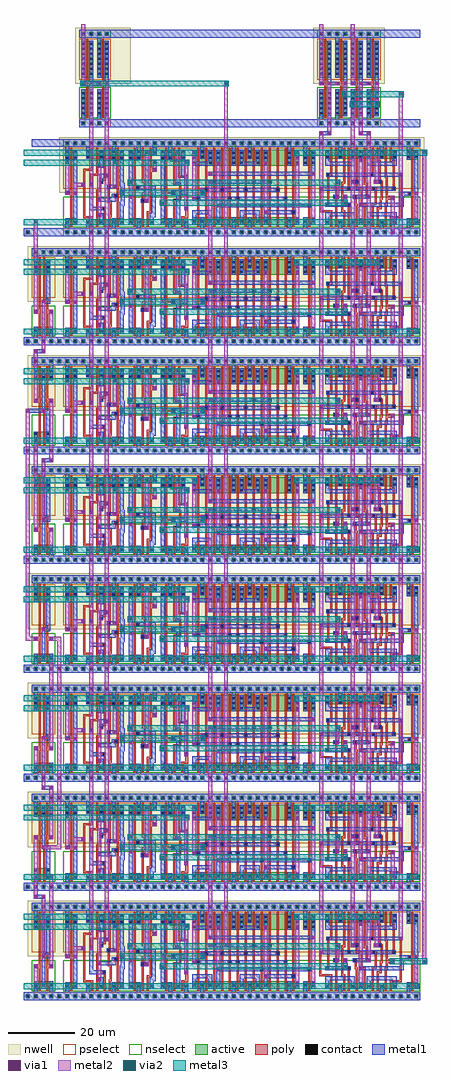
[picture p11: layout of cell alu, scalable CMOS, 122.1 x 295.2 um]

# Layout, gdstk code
import gdstk
lib = gdstk.Library(unit=1e-6, precision=1e-09)
def R(c, l, rs):  # rectangles x0, y0, x1, y1
    for r in rs: c.add(gdstk.rectangle(r[:2], r[2:], *l))
def A(c, l, x, y, w, h, nx, ny, dx, dy):  # array of equal rectangles
    R(c, l, [(x+i*dx, y+j*dy, x+i*dx+w, y+j*dy+h) for i in range(nx) for j in range(ny)])
def P(c, l, *ps):  # polygons
    for p in ps: c.add(gdstk.Polygon(p, *l))
contact = (25, 0)
nwell = (42, 0)
active = (43, 0)
pselect = (44, 0)
nselect = (45, 0)
poly = (46, 0)
metal1 = (49, 0)
via1 = (50, 0)
metal2 = (51, 0)
via2 = (61, 0)
metal3 = (62, 0)

invbuf_4x = lib.new_cell('invbuf_4x')
A(invbuf_4x, contact, 0.9, -0.3, 0.6, 0.6, 4, 2, 2.4, 3)
A(invbuf_4x, contact, 0.9, 4.2, 0.6, 0.6, 4, 4, 2.4, 1.5)
A(invbuf_4x, contact, 0.9, 14.7, 0.6, 0.6, 4, 7, 2.4, 1.5)
A(invbuf_4x, contact, 0.9, 26.7, 0.6, 0.6, 4, 1, 2.4, 0)
R(invbuf_4x, contact, [(0.9,11.7,1.5,12.3), (5.7,11.7,6.3,12.3)])
R(invbuf_4x, nwell, [(-1.2,12,6,28.8), (3.6,12,10.8,28.8)])
A(invbuf_4x, active, 0.6, -0.6, 1.2, 1.2, 4, 2, 2.4, 27)
R(invbuf_4x, active, [(0.6,2.1,4.2,10.2), (5.4,2.1,9,10.2), (0.6,13.8,4.2,24.9), (5.4,13.8,9,24.9)])
R(invbuf_4x, pselect, [(0,-1.2,4.8,1.2), (4.8,-1.2,9.6,1.2), (0,13.2,4.8,25.5), (4.8,13.2,9.6,25.5)])
R(invbuf_4x, nselect, [(0,1.5,4.8,10.8), (4.8,1.5,9.6,10.8), (0,25.8,4.8,28.2), (4.8,25.8,9.6,28.2)])
P(invbuf_4x, poly, [(7.5,25.5),(6.9,25.5),(6.9,12.6),(5.4,12.6),(5.4,11.4),(6.9,11.4),(6.9,1.5),(7.5,1.5)],
  [(2.7,25.5),(2.1,25.5),(2.1,12.6),(0.6,12.6),(0.6,11.4),(2.1,11.4),(2.1,1.5),(2.7,1.5)])
R(invbuf_4x, metal1, [(0,-1.2,9.6,1.2), (0,-1.2,4.8,1.2), (4.8,-1.2,9.6,1.2), (3,2.1,4.2,24.9), (7.8,2.1,9,24.9), (0.6,11.4,1.8,12.6), (3,11.4,6.6,12.6), (0,25.8,9.6,28.2), (0,25.8,4.8,28.2), (4.8,25.8,9.6,28.2)])
P(invbuf_4x, metal1, [(9.6,1.2),(6.6,1.2),(6.6,10.2),(5.4,10.2),(5.4,1.2),(4.8,1.2),(4.8,-1.2),(9.6,-1.2)],
  [(9.6,28.2),(4.8,28.2),(4.8,25.8),(5.4,25.8),(5.4,13.8),(6.6,13.8),(6.6,25.8),(9.6,25.8)],
  [(4.8,1.2),(1.8,1.2),(1.8,10.2),(0.6,10.2),(0.6,1.2),(0,1.2),(0,-1.2),(4.8,-1.2)],
  [(4.8,28.2),(0,28.2),(0,25.8),(0.6,25.8),(0.6,13.8),(1.8,13.8),(1.8,25.8),(4.8,25.8)])
R(invbuf_4x, via1, [(0.9,11.7,1.5,12.3), (3.3,11.7,3.9,12.3), (8.1,11.7,8.7,12.3)])
R(invbuf_4x, metal2, [(0.6,11.4,1.8,12.6), (0.6,11.4,1.8,12.6), (0.6,11.4,1.8,12.6), (0.6,11.4,2.1,12.6), (3,11.4,4.2,12.6), (3,11.4,4.2,12.6), (3,11.4,4.2,12.6), (5.4,11.4,6.6,12.6), (5.4,11.4,6.6,12.6), (7.8,11.4,9,12.6), (7.8,11.4,9,12.6), (7.8,11.4,9,12.6)])

mux4_dp_1x = lib.new_cell('mux4_dp_1x')
A(mux4_dp_1x, contact, 0.9, -0.3, 0.6, 0.6, 13, 2, 2.4, 27)
A(mux4_dp_1x, contact, 2.7, 2.7, 0.6, 0.6, 3, 2, 3.9, 19.8)
A(mux4_dp_1x, contact, 15.3, 2.7, 0.6, 0.6, 3, 2, 3.9, 19.8)
A(mux4_dp_1x, contact, 5.1, 10.5, 0.6, 0.6, 3, 1, 3, 0)
A(mux4_dp_1x, contact, 2.7, 24, 0.6, 0.6, 3, 1, 3.9, 0)
A(mux4_dp_1x, contact, 15.3, 24, 0.6, 0.6, 3, 1, 3.9, 0)
R(mux4_dp_1x, contact, [(12.9,2.7,13.5,3.3), (27.3,2.7,27.9,3.3), (29.7,2.7,30.3,3.3), (2.7,8.1,3.3,8.7), (9.3,8.1,9.9,8.7), (22.5,10.2,23.1,10.8), (15.3,10.5,15.9,11.1), (27.6,11.4,28.2,12), (0.9,12.9,1.5,13.5), (9.3,12.9,9.9,13.5), (16.8,12.9,17.4,13.5), (22.8,12.9,23.4,13.5), (11.7,15,12.3,15.6), (18.6,15,19.2,15.6), (3,17.1,3.6,17.7), (16.2,17.1,16.8,17.7), (24.9,17.1,25.5,17.7), (12.9,22.5,13.5,23.1), (27.3,22.5,27.9,23.1), (29.7,22.5,30.3,23.1), (12.9,24,13.5,24.6), (27.3,24,27.9,24.6), (29.7,24,30.3,24.6)])
R(mux4_dp_1x, nwell, [(-1.2,12,32.4,28.8)])
A(mux4_dp_1x, active, 0.6, -0.6, 1.2, 1.2, 13, 2, 2.4, 27)
R(mux4_dp_1x, active, [(2.4,2.1,24,3.9), (27,2.1,30.6,4.2), (27,21.9,30.6,24.9), (2.4,22.2,24,24.9), (2.4,22.2,24,24.9)])
R(mux4_dp_1x, pselect, [(0,-1.2,31.2,1.2), (0,13.2,31.2,25.5)])
R(mux4_dp_1x, nselect, [(0,1.5,31.2,10.8), (0,25.8,31.2,28.2)])
R(mux4_dp_1x, poly, [(3.9,1.5,4.5,6.6), (5.4,1.5,6,25.5), (7.8,1.5,8.4,6.6), (9.3,1.5,9.9,9), (11.7,1.5,12.3,8.7), (14.1,1.5,14.7,8.7), (16.5,1.5,17.1,9), (18,1.5,18.6,7.5), (20.4,1.5,21,8.7), (21.9,1.5,22.5,4.8), (28.5,1.5,29.1,25.5), (22.5,4.2,25.5,4.8), (24.9,4.8,25.5,18), (0.6,6,3.9,6.6), (7.2,6,7.8,15.3), (0.6,6.6,1.2,13.8), (18.6,6.9,18.9,7.5), (18.9,6.9,19.5,10.5), (2.4,7.8,3,9), (3,7.8,3.6,16.8), (9,7.8,9.3,9), (9.9,7.8,10.2,9), (11.4,8.1,12,11.4), (13.2,8.1,13.8,13.5), (13.8,8.1,14.1,8.7), (20.7,8.1,21.3,17.1), (17.1,8.4,17.4,9), (17.4,8.4,18,13.5), (19.2,9.9,19.8,15.6), (21.3,9.9,22.2,11.1), (22.2,9.9,23.4,11.1), (4.8,10.2,5.4,11.4), (7.8,10.2,9,11.4), (10.8,10.2,11.4,11.4), (15,10.2,16.2,11.4), (14.7,10.5,15.3,15), (27.3,11.1,28.5,12.3), (1.2,12.6,1.8,13.8), (9,12.6,9.3,13.8), (9.3,12.6,9.9,25.5), (9.9,12.6,10.2,13.8), (16.5,12.6,17.7,13.8), (22.5,12.6,22.8,13.8), (22.8,12.6,23.4,21.9), (23.4,12.6,23.7,13.8), (11.7,12.9,12.3,25.5), (12.3,12.9,13.2,13.5), (14.1,14.4,14.7,25.5), (7.8,14.7,8.4,25.5), (11.4,14.7,12.6,15.9), (18.3,14.7,19.5,15.9), (18.6,15.9,19.2,21.9), (20.4,16.5,21,25.5), (2.7,16.8,3.9,18), (15.9,16.8,16.5,18), (16.5,16.8,17.1,25.5), (24.6,16.8,24.9,18), (25.5,16.8,25.8,18), (3.9,17.1,4.5,25.5), (18,21.3,18.6,25.5), (21.9,21.3,22.5,25.5), (22.5,21.3,22.8,21.9)])
R(mux4_dp_1x, metal1, [(0,-1.2,31.2,1.2), (0,-1.2,31.2,1.2), (6.3,1.2,7.5,3.9), (18.9,1.2,20.1,3.9), (27,1.2,28.2,4.2), (2.4,2.1,3.6,6), (10.2,2.1,11.4,6), (12.6,2.1,13.8,4.2), (15,2.1,16.2,6), (22.8,2.1,24,6), (29.4,2.1,30.6,24.9), (3.6,4.8,10.2,6), (16.2,4.8,22.8,6), (2.4,7.8,10.2,9), (12.6,7.8,26.1,9), (24.9,9,26.1,11.1), (22.2,9.9,23.4,11.1), (4.8,10.2,6.6,11.4), (7.8,10.2,9,11.4), (10.8,10.2,16.2,11.4), (24.9,11.1,28.5,12.3), (0.6,12.6,23.7,13.8), (10.2,14.7,12.6,15.9), (17.1,14.7,19.5,15.9), (2.7,16.8,25.8,18), (2.4,20.1,3.6,24.9), (3.6,20.1,10.2,21.3), (10.2,20.1,11.4,24.9), (15,20.1,16.2,24.9), (16.2,20.1,22.8,21.3), (22.8,20.1,24,24.9), (12.6,21.3,13.8,24.9), (27,21.9,28.2,25.8), (6.3,22.2,7.5,25.8), (15,22.2,16.2,24.9), (18.9,22.2,20.1,25.8), (0,25.8,31.2,28.2), (0,25.8,31.2,28.2)])
R(mux4_dp_1x, via1, [(12.9,3.3,13.5,3.9), (12.9,8.1,13.5,8.7), (22.5,10.2,23.1,10.8), (5.7,10.5,6.3,11.1), (8.1,10.5,8.7,11.1), (15.3,10.5,15.9,11.1), (29.7,11.4,30.3,12), (0.9,12.9,1.5,13.5), (10.5,15,11.1,15.6), (17.4,15,18,15.6), (24.9,17.1,25.5,17.7), (12.9,21.6,13.5,22.2)])
R(mux4_dp_1x, metal2, [(12.6,3,13.8,22.5), (22.2,9.9,23.4,11.1), (5.4,10.2,6.6,11.4), (7.8,10.2,9,11.4), (15,10.2,16.2,11.4), (29.4,11.1,30.6,12.3), (0.6,12.6,1.8,13.8), (10.2,14.7,11.4,15.9), (17.1,14.7,18.3,15.9), (24.6,16.8,25.8,18)])

mux4_1x_8 = lib.new_cell('mux4_1x_8')
R(mux4_1x_8, metal1, [(0,-1.2,31.2,1.2), (0,25.8,31.2,28.2), (0,31.8,31.2,34.2), (0,58.8,31.2,61.2), (0,64.8,31.2,67.2), (0,91.8,31.2,94.2), (0,97.8,31.2,100.2), (0,124.8,31.2,127.2), (0,130.8,31.2,133.2), (0,157.8,31.2,160.2), (0,163.8,31.2,166.2), (0,190.8,31.2,193.2), (0,196.8,31.2,199.2), (0,223.8,31.2,226.2), (0,229.8,31.2,232.2), (0,256.8,31.2,259.2), (0.6,260.4,4.2,261.6), (12.6,260.4,16.2,261.6), (0,262.8,31.2,265.2), (0,289.8,31.2,292.2)])
R(mux4_1x_8, via1, [(0.9,260.7,1.5,261.3), (3.3,260.7,3.9,261.3), (12.9,260.7,13.5,261.3), (15.3,260.7,15.9,261.3)])
A(mux4_1x_8, metal2, 22.2, 9.9, 1.2, 1.2, 1, 8, 0, 33)
A(mux4_1x_8, metal2, 5.4, 10.2, 1.2, 1.2, 1, 8, 0, 33)
A(mux4_1x_8, metal2, 7.8, 10.2, 1.2, 1.2, 1, 8, 0, 33)
A(mux4_1x_8, metal2, 29.4, 11.1, 1.2, 1.2, 1, 8, 0, 33)
A(mux4_1x_8, metal2, 17.1, 14.7, 1.2, 1.2, 1, 8, 0, 33)
R(mux4_1x_8, metal2, [(15,10.2,16.2,261.6), (0.6,12.6,1.8,261.6), (10.2,14.7,11.4,270.6), (24.6,16.8,25.8,273.3), (3,260.4,4.2,276.6), (12.6,260.4,13.8,276.6), (17.4,269.1,18.6,276.6), (7.8,272.1,9,276.6), (0.6,275.4,1.8,276.6), (10.2,275.4,11.4,276.6)])
R(mux4_1x_8, via2, [(10.5,269.4,11.1,270), (17.7,269.4,18.3,270), (8.1,272.4,8.7,273), (24.9,272.4,25.5,273)])
R(mux4_1x_8, metal3, [(9.9,268.8,18.9,270.6), (7.5,271.8,26.1,273.6)])
mux4_1x_8.add(gdstk.Reference(invbuf_4x, (0,264)))
mux4_1x_8.add(gdstk.Reference(invbuf_4x, (9.6,264)))
r = gdstk.Reference(mux4_dp_1x, (0,0)); r.repetition = gdstk.Repetition(1, 8, v1=(33.6,0), v2=(0,33)); mux4_1x_8.add(r)

fulladder = lib.new_cell('fulladder')
A(fulladder, contact, 0.9, -0.3, 0.6, 0.6, 16, 2, 2.4, 27)
A(fulladder, contact, 0.9, 3, 0.6, 0.6, 4, 1, 2.4, 0)
A(fulladder, contact, 12.9, 3, 0.6, 0.6, 5, 1, 2.4, 0)
A(fulladder, contact, 29.7, 3, 0.6, 0.6, 4, 2, 2.4, 17.7)
A(fulladder, contact, 0.9, 20.7, 0.6, 0.6, 1, 3, 0, 1.5)
A(fulladder, contact, 5.7, 20.7, 0.6, 0.6, 1, 3, 0, 1.5)
A(fulladder, contact, 8.1, 20.7, 0.6, 0.6, 1, 3, 0, 1.5)
A(fulladder, contact, 12.9, 20.7, 0.6, 0.6, 1, 3, 0, 1.5)
A(fulladder, contact, 15.3, 20.7, 0.6, 0.6, 1, 3, 0, 1.5)
A(fulladder, contact, 20.1, 20.7, 0.6, 0.6, 1, 3, 0, 1.5)
A(fulladder, contact, 22.5, 20.7, 0.6, 0.6, 1, 3, 0, 1.5)
A(fulladder, contact, 29.7, 22.2, 0.6, 0.6, 4, 2, 2.4, 1.5)
R(fulladder, contact, [(30.9,5.7,31.5,6.3), (21.3,7.8,21.9,8.4), (35.7,7.8,36.3,8.4), (2.1,9.9,2.7,10.5), (11.7,9.9,12.3,10.5), (14.1,9.9,14.7,10.5), (28.5,9.9,29.1,10.5), (4.5,12.6,5.1,13.2), (9.3,12.6,9.9,13.2), (16.5,12.6,17.1,13.2), (26.1,12.6,26.7,13.2), (6.9,15,7.5,15.6), (18.9,15,19.5,15.6), (23.7,15,24.3,15.6), (3.3,22.5,3.9,23.1), (17.7,22.5,18.3,23.1), (3.3,24,3.9,24.6), (17.7,24,18.3,24.6)])
R(fulladder, nwell, [(-1.2,12,39.6,28.8)])
A(fulladder, active, 0.6, -0.6, 1.2, 1.2, 16, 2, 2.4, 27)
R(fulladder, active, [(0.6,2.1,33,4.5), (34.2,2.1,37.8,4.5), (0.6,20.1,33,24.9), (34.2,20.1,37.8,24.9)])
R(fulladder, pselect, [(0,-1.2,38.4,1.2), (0,13.2,38.4,25.5)])
R(fulladder, nselect, [(0,1.5,38.4,10.8), (0,1.5,38.4,10.8), (0,25.8,38.4,28.2)])
P(fulladder, poly, [(3,10.8),(2.7,10.8),(2.7,25.5),(2.1,25.5),(2.1,10.8),(1.8,10.8),(1.8,9.6),(2.1,9.6),(2.1,1.5),(2.7,1.5),(2.7,9.6),(3,9.6)],
  [(5.4,13.5),(5.1,13.5),(5.1,25.5),(4.5,25.5),(4.5,13.5),(4.2,13.5),(4.2,12.3),(4.5,12.3),(4.5,1.5),(5.1,1.5),(5.1,12.3),(5.4,12.3)],
  [(7.8,15.9),(7.5,15.9),(7.5,25.5),(6.9,25.5),(6.9,15.9),(6.6,15.9),(6.6,14.7),(6.9,14.7),(6.9,1.5),(7.5,1.5),(7.5,14.7),(7.8,14.7)],
  [(10.2,13.5),(9.9,13.5),(9.9,25.5),(9.3,25.5),(9.3,13.5),(9,13.5),(9,12.3),(9.3,12.3),(9.3,1.5),(9.9,1.5),(9.9,12.3),(10.2,12.3)],
  [(12.6,10.8),(12.3,10.8),(12.3,25.5),(11.7,25.5),(11.7,10.8),(11.4,10.8),(11.4,9.6),(11.7,9.6),(11.7,1.5),(12.3,1.5),(12.3,9.6),(12.6,9.6)],
  [(15,10.8),(14.7,10.8),(14.7,25.5),(14.1,25.5),(14.1,10.8),(13.8,10.8),(13.8,9.6),(14.1,9.6),(14.1,1.5),(14.7,1.5),(14.7,9.6),(15,9.6)],
  [(17.4,13.5),(17.1,13.5),(17.1,25.5),(16.5,25.5),(16.5,13.5),(16.2,13.5),(16.2,12.3),(16.5,12.3),(16.5,1.5),(17.1,1.5),(17.1,12.3),(17.4,12.3)],
  [(19.8,15.9),(19.5,15.9),(19.5,25.5),(18.9,25.5),(18.9,15.9),(18.6,15.9),(18.6,14.7),(18.9,14.7),(18.9,1.5),(19.5,1.5),(19.5,14.7),(19.8,14.7)],
  [(22.2,8.7),(21.9,8.7),(21.9,25.5),(21.3,25.5),(21.3,8.7),(21,8.7),(21,7.5),(21.3,7.5),(21.3,1.5),(21.9,1.5),(21.9,7.5),(22.2,7.5)],
  [(24.6,15.9),(24.3,15.9),(24.3,25.5),(23.7,25.5),(23.7,15.9),(23.4,15.9),(23.4,14.7),(23.7,14.7),(23.7,1.5),(24.3,1.5),(24.3,14.7),(24.6,14.7)],
  [(27,13.5),(26.7,13.5),(26.7,25.5),(26.1,25.5),(26.1,13.5),(25.8,13.5),(25.8,12.3),(26.1,12.3),(26.1,1.5),(26.7,1.5),(26.7,12.3),(27,12.3)],
  [(29.4,10.8),(29.1,10.8),(29.1,25.5),(28.5,25.5),(28.5,10.8),(28.2,10.8),(28.2,9.6),(28.5,9.6),(28.5,1.5),(29.1,1.5),(29.1,9.6),(29.4,9.6)],
  [(31.8,6.6),(31.5,6.6),(31.5,25.5),(30.9,25.5),(30.9,6.6),(30.6,6.6),(30.6,5.4),(30.9,5.4),(30.9,1.5),(31.5,1.5),(31.5,5.4),(31.8,5.4)],
  [(36.6,8.7),(36.3,8.7),(36.3,25.5),(35.7,25.5),(35.7,8.7),(35.4,8.7),(35.4,7.5),(35.7,7.5),(35.7,1.5),(36.3,1.5),(36.3,7.5),(36.6,7.5)])
R(fulladder, metal1, [(0,-1.2,38.4,1.2), (31.8,2.1,33,4.5), (36.6,2.1,37.8,4.5), (0.6,9.6,29.4,10.8), (3,12.3,27,13.5), (5.4,14.7,24.6,15.9), (7.8,20.1,9,24.9), (22.2,20.1,23.4,24.9), (31.8,20.1,33,24.9), (0,25.8,38.4,28.2)])
P(fulladder, metal1, [(6.6,24.9),(5.4,24.9),(5.4,21.3),(1.8,21.3),(1.8,24.9),(0.6,24.9),(0.6,20.1),(6.6,20.1)],
  [(6.6,6.6),(0.6,6.6),(0.6,2.1),(1.8,2.1),(1.8,5.4),(5.4,5.4),(5.4,2.1),(6.6,2.1)],
  [(21,24.9),(19.8,24.9),(19.8,21.3),(16.2,21.3),(16.2,24.9),(15,24.9),(15,20.1),(21,20.1)],
  [(21,6.6),(15,6.6),(15,2.1),(16.2,2.1),(16.2,5.4),(19.8,5.4),(19.8,2.1),(21,2.1)],
  [(31.8,6.6),(22.2,6.6),(22.2,2.1),(23.4,2.1),(23.4,5.4),(31.8,5.4)],
  [(36.6,8.7),(7.8,8.7),(7.8,2.1),(9,2.1),(9,7.5),(36.6,7.5)],
  [(37.8,24.9),(36.6,24.9),(36.6,18.3),(5.4,18.3),(5.4,17.1),(37.8,17.1)],
  [(38.4,28.2),(0,28.2),(0,25.8),(3,25.8),(3,22.2),(4.2,22.2),(4.2,25.8),(12.6,25.8),(12.6,20.1),(13.8,20.1),(13.8,25.8),(17.4,25.8),(17.4,22.2),(18.6,22.2),(18.6,25.8),(29.4,25.8),(29.4,20.1),(30.6,20.1),(30.6,25.8),(34.2,25.8),(34.2,20.1),(35.4,20.1),(35.4,25.8),(38.4,25.8)],
  [(38.4,1.2),(35.4,1.2),(35.4,4.5),(34.2,4.5),(34.2,1.2),(30.6,1.2),(30.6,4.5),(29.4,4.5),(29.4,1.2),(18.6,1.2),(18.6,4.5),(17.4,4.5),(17.4,1.2),(13.8,1.2),(13.8,4.5),(12.6,4.5),(12.6,1.2),(4.2,1.2),(4.2,4.5),(3,4.5),(3,1.2),(0,1.2),(0,-1.2),(38.4,-1.2)])
R(fulladder, via1, [(32.1,3.6,32.7,4.2), (36.9,3.6,37.5,4.2), (22.5,5.7,23.1,6.3), (8.1,7.8,8.7,8.4), (0.9,9.9,1.5,10.5), (3.3,12.6,3.9,13.2), (5.7,15,6.3,15.6), (5.7,17.4,6.3,18), (36.9,17.4,37.5,18), (8.1,20.4,8.7,21), (22.5,20.4,23.1,21), (32.1,20.4,32.7,21)])
R(fulladder, metal2, [(31.8,3.3,33,21.3), (31.8,3.3,33,4.5), (36.6,3.3,37.8,18.3), (22.2,5.4,23.4,21.3), (7.8,7.5,9,21.3), (0.6,9.6,1.8,10.8), (3,12.3,4.2,13.5), (5.4,14.7,6.6,15.9), (5.4,17.1,6.6,18.3)])

adder_8 = lib.new_cell('adder_8')
R(adder_8, metal1, [(0,-1.2,38.4,1.2), (0,25.8,38.4,28.2), (0,31.8,38.4,34.2), (0,58.8,38.4,61.2), (0,64.8,38.4,67.2), (0,91.8,38.4,94.2), (0,97.8,38.4,100.2), (0,124.8,38.4,127.2), (0,130.8,38.4,133.2), (0,157.8,38.4,160.2), (0,163.8,38.4,166.2), (0,190.8,38.4,193.2), (0,196.8,38.4,199.2), (0,223.8,38.4,226.2), (0,229.8,38.4,232.2), (0,256.8,38.4,259.2)])
A(adder_8, metal2, 31.8, 3.3, 1.2, 1.2, 1, 8, 0, 33)
A(adder_8, metal2, 0.6, 9.6, 1.2, 1.2, 1, 8, 0, 33)
A(adder_8, metal2, 3, 12.3, 1.2, 1.2, 1, 8, 0, 33)
A(adder_8, metal2, 5.4, 17.1, 1.2, 31.8, 1, 7, 0, 33)
R(adder_8, metal2, [(5.4,14.7,6.6,15.9), (5.4,248.1,6.6,249.3)])
r = gdstk.Reference(fulladder, (0,0)); r.repetition = gdstk.Repetition(1, 8, v1=(40.8,0), v2=(0,33)); adder_8.add(r)

mux2_dp_1x = lib.new_cell('mux2_dp_1x')
A(mux2_dp_1x, contact, 0.9, -0.3, 0.6, 0.6, 6, 2, 2.4, 27)
A(mux2_dp_1x, contact, 2.4, 2.7, 0.6, 0.6, 3, 2, 3.9, 21.3)
R(mux2_dp_1x, contact, [(12.6,2.7,13.2,3.3), (7.2,6.9,7.8,7.5), (10.8,10.8,11.4,11.4), (8.7,13.5,9.3,14.1), (0.9,14.1,1.5,14.7), (3.3,14.1,3.9,14.7), (6.3,15,6.9,15.6), (10.2,22.2,10.8,22.8), (12.6,22.2,13.2,22.8), (2.4,22.5,3,23.1), (6.3,22.5,6.9,23.1), (12.6,24,13.2,24.6)])
R(mux2_dp_1x, nwell, [(-1.2,12,15.6,28.8)])
A(mux2_dp_1x, active, 0.6, -0.6, 1.2, 1.2, 6, 2, 2.4, 27)
P(mux2_dp_1x, active, [(13.5,4.2),(9.9,4.2),(9.9,3.9),(2.1,3.9),(2.1,2.1),(13.5,2.1)],
  [(13.5,24.9),(2.1,24.9),(2.1,22.2),(9.9,22.2),(9.9,21.9),(13.5,21.9)])
R(mux2_dp_1x, pselect, [(0,-1.2,14.4,1.2), (0,13.2,14.4,25.5)])
R(mux2_dp_1x, nselect, [(0,1.5,14.4,10.8), (0,25.8,14.4,28.2)])
P(mux2_dp_1x, poly, [(4.2,4.8),(1.8,4.8),(1.8,18.6),(4.2,18.6),(4.2,25.5),(3.6,25.5),(3.6,19.2),(1.2,19.2),(1.2,15),(0.6,15),(0.6,13.8),(1.2,13.8),(1.2,4.2),(3.6,4.2),(3.6,1.5),(4.2,1.5)],
  [(5.7,25.5),(5.1,25.5),(5.1,17.7),(3.3,17.7),(3.3,15),(3,15),(3,13.8),(4.2,13.8),(4.2,15),(3.9,15),(3.9,17.1),(5.7,17.1)],
  [(8.1,25.5),(7.5,25.5),(7.5,16.2),(6,16.2),(6,12.9),(5.1,12.9),(5.1,1.5),(5.7,1.5),(5.7,12.3),(6.6,12.3),(6.6,14.7),(7.2,14.7),(7.2,15.6),(8.1,15.6)],
  [(8.1,7.8),(6.9,7.8),(6.9,6.6),(7.5,6.6),(7.5,1.5),(8.1,1.5)],
  [(9.9,9.6),(9.3,9.6),(9.3,13.2),(9.6,13.2),(9.6,25.5),(9,25.5),(9,14.4),(8.4,14.4),(8.4,13.2),(8.7,13.2),(8.7,9),(9.3,9),(9.3,5.1),(9,5.1),(9,1.5),(9.6,1.5),(9.6,4.5),(9.9,4.5)],
  [(12,25.5),(11.4,25.5),(11.4,11.7),(10.5,11.7),(10.5,10.5),(11.4,10.5),(11.4,1.5),(12,1.5)])
R(mux2_dp_1x, metal1, [(0,-1.2,14.4,1.2), (8.4,13.2,11.4,14.4), (0.6,13.8,1.8,15), (0,25.8,14.4,28.2)])
P(mux2_dp_1x, metal1, [(7.2,24.9),(6,24.9),(6,20.7),(5.4,20.7),(5.4,19.5),(7.2,19.5)],
  [(7.2,5.7),(5.4,5.7),(5.4,4.5),(6,4.5),(6,2.1),(7.2,2.1)],
  [(8.1,7.8),(4.2,7.8),(4.2,15),(3,15),(3,6.6),(8.1,6.6)],
  [(9,17.7),(6,17.7),(6,14.7),(7.2,14.7),(7.2,16.5),(9,16.5)],
  [(13.8,15),(13.5,15),(13.5,24.9),(12.3,24.9),(12.3,13.8),(12.6,13.8),(12.6,9.3),(12.3,9.3),(12.3,2.1),(13.5,2.1),(13.5,8.1),(13.8,8.1)],
  [(14.4,1.2),(11.1,1.2),(11.1,4.2),(9.9,4.2),(9.9,1.2),(3.3,1.2),(3.3,3.9),(2.1,3.9),(2.1,1.2),(0,1.2),(0,-1.2),(14.4,-1.2)],
  [(11.7,11.7),(9.9,11.7),(9.9,10.5),(5.4,10.5),(5.4,9.3),(11.1,9.3),(11.1,10.5),(11.7,10.5)],
  [(14.4,28.2),(0,28.2),(0,25.8),(2.1,25.8),(2.1,22.2),(3.3,22.2),(3.3,25.8),(9.9,25.8),(9.9,21.9),(11.1,21.9),(11.1,25.8),(14.4,25.8)])
R(mux2_dp_1x, via1, [(5.7,4.8,6.3,5.4), (5.7,9.6,6.3,10.2), (12.9,11.7,13.5,12.3), (10.5,13.5,11.1,14.1), (0.9,14.1,1.5,14.7), (3.3,14.1,3.9,14.7), (8.1,16.8,8.7,17.4), (5.7,19.8,6.3,20.4)])
R(mux2_dp_1x, metal2, [(5.4,4.5,6.6,20.7), (12.6,11.4,13.8,12.6), (10.2,13.2,11.4,14.4), (0.6,13.8,1.8,15), (3,13.8,4.2,15), (7.8,16.5,9,17.7)])

mux2_1x_8 = lib.new_cell('mux2_1x_8')
R(mux2_1x_8, nwell, [(-1.2,276,15.6,292.8)])
R(mux2_1x_8, metal1, [(0,-1.2,14.4,1.2), (0,25.8,14.4,28.2), (0,31.8,14.4,34.2), (0,58.8,14.4,61.2), (0,64.8,14.4,67.2), (0,91.8,14.4,94.2), (0,97.8,14.4,100.2), (0,124.8,14.4,127.2), (0,130.8,14.4,133.2), (0,157.8,14.4,160.2), (0,163.8,14.4,166.2), (0,190.8,14.4,193.2), (0,196.8,14.4,199.2), (0,223.8,14.4,226.2), (0,229.8,14.4,232.2), (0,256.8,14.4,259.2), (0,262.8,14.4,265.2), (0,289.8,14.4,292.2)])
A(mux2_1x_8, metal2, 12.6, 11.4, 1.2, 1.2, 1, 8, 0, 33)
A(mux2_1x_8, metal2, 10.2, 13.2, 1.2, 1.2, 1, 8, 0, 33)
A(mux2_1x_8, metal2, 0.6, 13.8, 1.2, 1.2, 1, 8, 0, 33)
R(mux2_1x_8, metal2, [(3,13.8,4.2,276.6), (7.8,16.5,9,276.6), (0.6,275.4,1.8,276.6)])
mux2_1x_8.add(gdstk.Reference(invbuf_4x, (0,264)))
r = gdstk.Reference(mux2_dp_1x, (0,0)); r.repetition = gdstk.Repetition(1, 8, v1=(16.8,0), v2=(0,33)); mux2_1x_8.add(r)

inv_1x = lib.new_cell('inv_1x')
R(inv_1x, contact, [(0.9,-0.3,1.5,0.3), (3.3,-0.3,3.9,0.3), (0.9,2.7,1.5,3.3), (3.3,2.7,3.9,3.3), (0.9,11.7,1.5,12.3), (0.9,22.2,1.5,22.8), (3.3,22.2,3.9,22.8), (0.9,24,1.5,24.6), (3.3,24,3.9,24.6), (0.9,26.7,1.5,27.3), (3.3,26.7,3.9,27.3)])
R(inv_1x, nwell, [(-1.2,12,6,28.8)])
R(inv_1x, active, [(0.6,-0.6,1.8,0.6), (3,-0.6,4.2,0.6), (0.6,2.1,4.2,4.2), (0.6,21.9,4.2,24.9), (0.6,26.4,1.8,27.6), (3,26.4,4.2,27.6)])
R(inv_1x, pselect, [(0,-1.2,4.8,1.2), (0,13.2,4.8,25.5)])
R(inv_1x, nselect, [(0,1.5,4.8,10.8), (0,25.8,4.8,28.2)])
R(inv_1x, poly, [(2.1,1.5,2.7,25.5), (0.6,11.4,2.1,12.6)])
R(inv_1x, metal1, [(0,-1.2,4.8,1.2), (0,-1.2,4.8,1.2), (0.6,1.2,1.8,4.2), (3,2.1,4.2,24.9), (0.6,11.4,1.8,12.6), (0.6,21.9,1.8,25.8), (0,25.8,4.8,28.2), (0,25.8,4.8,28.2)])
R(inv_1x, via1, [(0.9,11.7,1.5,12.3), (3.3,11.7,3.9,12.3)])
R(inv_1x, metal2, [(0.6,11.4,1.8,12.6), (0.6,11.4,1.8,12.6), (0.6,11.4,1.8,12.6), (0.9,11.4,2.1,12.6), (3,11.4,4.2,12.6), (3,11.4,4.2,12.6)])

inv_1x_8 = lib.new_cell('inv_1x_8')
R(inv_1x_8, metal1, [(0,-1.2,4.8,1.2), (0,25.8,4.8,28.2), (0,31.8,4.8,34.2), (0,58.8,4.8,61.2), (0,64.8,4.8,67.2), (0,91.8,4.8,94.2), (0,97.8,4.8,100.2), (0,124.8,4.8,127.2), (0,130.8,4.8,133.2), (0,157.8,4.8,160.2), (0,163.8,4.8,166.2), (0,190.8,4.8,193.2), (0,196.8,4.8,199.2), (0,223.8,4.8,226.2), (0,229.8,4.8,232.2), (0,256.8,4.8,259.2)])
A(inv_1x_8, metal2, 0.6, 11.4, 1.2, 1.2, 1, 8, 0, 33)
A(inv_1x_8, metal2, 3, 11.4, 1.2, 1.2, 1, 8, 0, 33)
r = gdstk.Reference(inv_1x, (0,0)); r.repetition = gdstk.Repetition(1, 8, v1=(7.2,0), v2=(0,33)); inv_1x_8.add(r)

condinv_8 = lib.new_cell('condinv_8')
R(condinv_8, metal1, [(0,-1.2,19.2,1.2), (0,25.8,19.2,28.2), (0,31.8,19.2,34.2), (0,58.8,19.2,61.2), (0,64.8,19.2,67.2), (0,91.8,19.2,94.2), (0,97.8,19.2,100.2), (0,124.8,19.2,127.2), (0,130.8,19.2,133.2), (0,157.8,19.2,160.2), (0,163.8,19.2,166.2), (0,190.8,19.2,193.2), (0,196.8,19.2,199.2), (0,223.8,19.2,226.2), (0,229.8,19.2,232.2), (0,256.8,19.2,259.2), (4.8,262.8,19.2,265.2), (4.8,289.8,19.2,292.2)])
A(condinv_8, metal2, 0.6, 11.4, 1.2, 10.2, 1, 8, 0, 33)
A(condinv_8, metal2, 3, 11.4, 1.2, 3.6, 1, 8, 0, 33)
A(condinv_8, metal2, 17.4, 11.4, 1.2, 1.2, 1, 8, 0, 33)
A(condinv_8, metal2, 15, 13.2, 1.2, 8.4, 1, 8, 0, 33)
A(condinv_8, metal2, 3, 13.8, 3.6, 1.2, 1, 8, 0, 33)
A(condinv_8, metal2, 0.6, 20.4, 1.2, 1.2, 1, 8, 0, 33)
R(condinv_8, metal2, [(5.4,275.4,6.6,276.6)])
A(condinv_8, via2, 0.9, 20.7, 0.6, 0.6, 1, 8, 0, 33)
A(condinv_8, via2, 15.3, 20.7, 0.6, 0.6, 1, 8, 0, 33)
A(condinv_8, metal3, 0.3, 20.1, 16.2, 1.8, 1, 8, 0, 33)
condinv_8.add(gdstk.Reference(mux2_1x_8, (4.8,0)))
condinv_8.add(gdstk.Reference(inv_1x_8, (0,0)))

nand2_1x = lib.new_cell('nand2_1x')
A(nand2_1x, contact, 0.9, -0.3, 0.6, 0.6, 3, 2, 2.4, 22.2)
A(nand2_1x, contact, 0.9, 23.7, 0.6, 0.6, 3, 2, 2.4, 3)
R(nand2_1x, contact, [(0.9,2.7,1.5,3.3), (4.8,2.7,5.4,3.3), (0.9,4.8,1.5,5.4), (4.8,4.8,5.4,5.4), (0.9,14.7,1.5,15.3), (5.7,14.7,6.3,15.3)])
R(nand2_1x, nwell, [(-1.2,12,8.4,28.8)])
A(nand2_1x, active, 0.6, -0.6, 1.2, 1.2, 3, 2, 2.4, 27)
R(nand2_1x, active, [(0.6,2.1,5.7,5.7), (0.6,21.3,6.6,24.9)])
R(nand2_1x, pselect, [(0,-1.2,7.2,1.2), (0,13.2,7.2,25.5)])
R(nand2_1x, nselect, [(0,1.5,7.2,10.8), (0,25.8,7.2,28.2)])
P(nand2_1x, poly, [(2.7,25.5),(2.1,25.5),(2.1,15.6),(0.6,15.6),(0.6,14.4),(2.1,14.4),(2.1,1.5),(2.7,1.5)],
  [(6.6,15.6),(5.1,15.6),(5.1,25.5),(4.5,25.5),(4.5,12.6),(3.6,12.6),(3.6,1.5),(4.2,1.5),(4.2,12),(5.1,12),(5.1,14.4),(6.6,14.4)])
R(nand2_1x, metal1, [(0,-1.2,7.2,1.2), (0.6,14.4,1.8,15.6), (5.4,14.4,6.6,15.6), (0,25.8,7.2,28.2)])
P(nand2_1x, metal1, [(5.7,12.6),(4.2,12.6),(4.2,24.9),(3,24.9),(3,11.4),(4.5,11.4),(4.5,2.1),(5.7,2.1)],
  [(7.2,28.2),(0,28.2),(0,25.8),(0.6,25.8),(0.6,21.3),(1.8,21.3),(1.8,25.8),(5.4,25.8),(5.4,21.3),(6.6,21.3),(6.6,25.8),(7.2,25.8)],
  [(7.2,1.2),(1.8,1.2),(1.8,5.7),(0.6,5.7),(0.6,1.2),(0,1.2),(0,-1.2),(7.2,-1.2)])
R(nand2_1x, via1, [(3.3,11.7,3.9,12.3), (0.9,14.7,1.5,15.3), (5.7,14.7,6.3,15.3)])
R(nand2_1x, metal2, [(3,11.4,4.2,12.6), (3,11.4,4.2,12.6), (0.6,14.4,1.8,15.6), (0.6,14.4,1.8,15.6), (5.4,14.4,6.6,15.6), (5.4,14.4,6.6,15.6)])

nor2_1x = lib.new_cell('nor2_1x')
A(nor2_1x, contact, 0.9, -0.3, 0.6, 0.6, 3, 2, 2.4, 3.3)
A(nor2_1x, contact, 0.9, 20.7, 0.6, 0.6, 1, 3, 0, 1.5)
A(nor2_1x, contact, 4.8, 20.7, 0.6, 0.6, 1, 3, 0, 1.5)
A(nor2_1x, contact, 0.9, 26.7, 0.6, 0.6, 3, 1, 2.4, 0)
R(nor2_1x, contact, [(0.9,8.7,1.5,9.3), (5.7,8.7,6.3,9.3)])
R(nor2_1x, nwell, [(-1.2,12,8.4,28.8)])
A(nor2_1x, active, 0.6, -0.6, 1.2, 1.2, 3, 2, 2.4, 27)
R(nor2_1x, active, [(0.6,2.1,6.6,4.5), (0.6,20.1,5.7,24.9)])
R(nor2_1x, pselect, [(0,-1.2,7.2,1.2), (0,13.2,7.2,25.5)])
R(nor2_1x, nselect, [(0,1.5,7.2,10.8), (0,25.8,7.2,28.2)])
R(nor2_1x, poly, [(2.1,1.5,2.7,25.5), (0.6,8.4,2.1,9.6), (5.1,8.4,6.6,9.6)])
P(nor2_1x, poly, [(5.1,13.2),(4.2,13.2),(4.2,25.5),(3.6,25.5),(3.6,12.6),(4.5,12.6),(4.5,1.5),(5.1,1.5)])
R(nor2_1x, metal1, [(0,-1.2,7.2,1.2), (0.6,8.4,1.8,9.6), (5.4,8.4,6.6,9.6), (0,25.8,7.2,28.2)])
P(nor2_1x, metal1, [(5.7,24.9),(4.5,24.9),(4.5,12.6),(3,12.6),(3,2.1),(4.2,2.1),(4.2,11.4),(5.7,11.4)],
  [(7.2,28.2),(0,28.2),(0,25.8),(0.6,25.8),(0.6,20.1),(1.8,20.1),(1.8,25.8),(7.2,25.8)],
  [(7.2,1.2),(6.6,1.2),(6.6,4.5),(5.4,4.5),(5.4,1.2),(1.8,1.2),(1.8,4.5),(0.6,4.5),(0.6,1.2),(0,1.2),(0,-1.2),(7.2,-1.2)])
R(nor2_1x, via1, [(0.9,8.7,1.5,9.3), (5.7,8.7,6.3,9.3), (3.3,11.7,3.9,12.3)])
R(nor2_1x, metal2, [(0.6,8.4,1.8,9.6), (5.4,8.4,6.6,9.6), (3,11.4,4.2,12.6)])

yzdetect_8 = lib.new_cell('yzdetect_8')
R(yzdetect_8, metal1, [(-0.6,-1.2,6.6,1.2), (-0.6,25.8,6.6,28.2), (0,29.4,3.6,30.6), (-0.6,31.8,6.6,34.2), (-0.6,58.8,6.6,61.2), (2.4,62.4,6,63.6), (-0.6,64.8,6.6,67.2), (-0.6,91.8,6.6,94.2), (-0.6,97.8,6.6,100.2), (-0.6,124.8,6.6,127.2), (-0.6,130.8,6.6,133.2), (-0.6,157.8,6.6,160.2), (2.4,161.4,6,162.6), (-0.6,163.8,6.6,166.2), (-2.4,176.4,3.6,177.6), (-0.6,190.8,6.6,193.2), (0,194.4,3.6,195.6), (-0.6,196.8,6.6,199.2), (-0.6,223.8,6.6,226.2)])
R(yzdetect_8, via1, [(0.3,29.7,0.9,30.3), (2.7,29.7,3.3,30.3), (2.7,62.7,3.3,63.3), (5.1,62.7,5.7,63.3), (2.7,161.7,3.3,162.3), (5.1,161.7,5.7,162.3), (-2.1,176.7,-1.5,177.3), (2.7,176.7,3.3,177.3), (0.3,194.7,0.9,195.3), (2.7,194.7,3.3,195.3)])
A(yzdetect_8, metal2, 0, 8.4, 1.2, 1.2, 1, 4, 0, 66)
A(yzdetect_8, metal2, 4.8, 8.4, 1.2, 1.2, 1, 4, 0, 66)
R(yzdetect_8, metal2, [(2.4,11.4,3.6,30.6), (0,29.4,1.2,48.6), (2.4,44.4,8.4,45.6), (7.2,44.4,8.4,108.6), (4.8,47.4,6,63.6), (2.4,62.4,3.6,78.6), (-2.4,107.4,-1.2,177.6), (-2.4,107.4,1.2,108.6), (4.8,107.4,8.4,108.6), (2.4,110.4,3.6,111.6), (2.4,143.4,3.6,162.6), (4.8,161.4,6,180.6), (2.4,176.4,3.6,177.6), (0,179.4,1.2,195.6), (2.4,194.4,3.6,210.6)])
yzdetect_8.add(gdstk.Reference(nand2_1x, (-0.6,33)))
yzdetect_8.add(gdstk.Reference(nand2_1x, (-0.6,165)))
yzdetect_8.add(gdstk.Reference(nor2_1x, (-0.6,0)))
yzdetect_8.add(gdstk.Reference(nor2_1x, (-0.6,66)))
yzdetect_8.add(gdstk.Reference(nor2_1x, (-0.6,99)))
yzdetect_8.add(gdstk.Reference(nor2_1x, (-0.6,132)))
yzdetect_8.add(gdstk.Reference(nor2_1x, (-0.6,198)))

and2_1x = lib.new_cell('and2_1x')
A(and2_1x, contact, 0.9, -0.3, 0.6, 0.6, 4, 2, 2.4, 27)
R(and2_1x, contact, [(0.9,2.7,1.5,3.3), (3.3,2.7,3.9,3.3), (7.2,2.7,7.8,3.3), (4.5,9.3,5.1,9.9), (3,13.2,3.6,13.8), (8.1,18.6,8.7,19.2), (0.9,22.2,1.5,22.8), (3.3,22.2,3.9,22.8), (5.7,23.7,6.3,24.3), (8.1,23.7,8.7,24.3), (0.9,24,1.5,24.6), (3.3,24,3.9,24.6)])
R(and2_1x, nwell, [(-1.2,12,10.8,28.8)])
A(and2_1x, active, 0.6, -0.6, 1.2, 1.2, 4, 2, 2.4, 27)
P(and2_1x, active, [(9,24.9),(0.6,24.9),(0.6,21.9),(4.2,21.9),(4.2,23.1),(9,23.1)],
  [(8.1,3.9),(4.2,3.9),(4.2,4.2),(0.6,4.2),(0.6,2.1),(8.1,2.1)])
R(and2_1x, pselect, [(0,-1.2,9.6,1.2), (0,13.2,9.6,25.5)])
R(and2_1x, nselect, [(0,1.5,9.6,10.8), (0,25.8,9.6,28.2)])
P(and2_1x, poly, [(3.9,14.1),(2.7,14.1),(2.7,25.5),(2.1,25.5),(2.1,1.5),(2.7,1.5),(2.7,12.9),(3.9,12.9)],
  [(5.7,15.6),(5.1,15.6),(5.1,25.5),(4.5,25.5),(4.5,15),(5.1,15),(5.1,12),(4.5,12),(4.5,10.2),(4.2,10.2),(4.2,9),(4.5,9),(4.5,1.5),(5.1,1.5),(5.1,9),(5.4,9),(5.4,10.2),(5.1,10.2),(5.1,11.4),(5.7,11.4)],
  [(9,19.5),(7.5,19.5),(7.5,25.5),(6.9,25.5),(6.9,6.3),(6,6.3),(6,1.5),(6.6,1.5),(6.6,5.7),(7.5,5.7),(7.5,18.3),(9,18.3)])
R(and2_1x, metal1, [(0,-1.2,9.6,1.2), (0.6,2.1,1.8,24.9), (4.2,9,6.6,10.2), (7.8,18.3,9,19.5), (0,25.8,9.6,28.2)])
P(and2_1x, metal1, [(8.7,14.1),(6.6,14.1),(6.6,24.9),(5.4,24.9),(5.4,14.1),(2.7,14.1),(2.7,12.9),(7.5,12.9),(7.5,5.7),(6.9,5.7),(6.9,2.1),(8.1,2.1),(8.1,4.5),(8.7,4.5)],
  [(9.6,28.2),(0,28.2),(0,25.8),(3,25.8),(3,21.9),(4.2,21.9),(4.2,25.8),(7.8,25.8),(7.8,23.1),(9,23.1),(9,25.8),(9.6,25.8)],
  [(9.6,1.2),(4.2,1.2),(4.2,4.2),(3,4.2),(3,1.2),(0,1.2),(0,-1.2),(9.6,-1.2)])
R(and2_1x, via1, [(5.7,9.3,6.3,9.9), (0.9,10.5,1.5,11.1), (8.1,18.6,8.7,19.2)])
R(and2_1x, metal2, [(5.4,9,6.6,10.2), (0.6,10.2,1.8,11.4), (7.8,18.3,9,19.5)])

and2_1x_8 = lib.new_cell('and2_1x_8')
R(and2_1x_8, metal1, [(1.2,0,10.8,2.4), (1.2,27,10.8,29.4), (1.2,33,10.8,35.4), (1.2,60,10.8,62.4), (1.2,66,10.8,68.4), (1.2,93,10.8,95.4), (1.2,99,10.8,101.4), (1.2,126,10.8,128.4), (1.2,132,10.8,134.4), (1.2,159,10.8,161.4), (1.2,165,10.8,167.4), (1.2,192,10.8,194.4), (1.2,198,10.8,200.4), (1.2,225,10.8,227.4), (1.2,231,10.8,233.4), (1.2,258,10.8,260.4)])
A(and2_1x_8, metal2, 6.6, 10.2, 1.2, 1.2, 1, 8, 0, 33)
A(and2_1x_8, metal2, 1.8, 11.4, 1.2, 1.2, 1, 8, 0, 33)
A(and2_1x_8, metal2, 9, 19.5, 1.2, 1.2, 1, 8, 0, 33)
r = gdstk.Reference(and2_1x, (1.2,1.2)); r.repetition = gdstk.Repetition(1, 8, v1=(12,0), v2=(0,33)); and2_1x_8.add(r)

or2_1x = lib.new_cell('or2_1x')
A(or2_1x, contact, 0.9, -0.3, 0.6, 0.6, 4, 2, 2.4, 3)
A(or2_1x, contact, 0.9, 26.7, 0.6, 0.6, 4, 1, 2.4, 0)
R(or2_1x, contact, [(8.1,6.9,8.7,7.5), (4.2,11.7,4.8,12.3), (5.4,14.4,6,15), (0.9,22.2,1.5,22.8), (3.3,22.2,3.9,22.8), (7.2,22.2,7.8,22.8), (0.9,24,1.5,24.6), (3.3,24,3.9,24.6), (7.2,24,7.8,24.6)])
R(or2_1x, nwell, [(-1.2,12,10.8,28.8)])
A(or2_1x, active, 0.6, -0.6, 1.2, 1.2, 4, 2, 2.4, 27)
R(or2_1x, active, [(0.6,2.1,4.2,4.2), (4.2,2.1,9,3.9), (3.6,21.3,4.2,21.9), (4.2,21.3,8.1,24.9), (0.6,21.9,4.2,24.9)])
R(or2_1x, pselect, [(0,-1.2,9.6,1.2), (0,13.2,9.6,25.5)])
R(or2_1x, nselect, [(0,1.5,9.6,10.8), (0,25.8,9.6,28.2)])
R(or2_1x, poly, [(2.1,1.5,2.7,25.5), (4.5,1.5,5.1,10.2), (6.9,1.5,7.5,4.8), (7.5,4.2,9,4.8), (8.1,4.8,9,6.6), (7.8,6.6,9,7.8), (8.4,7.8,9,17.1), (5.1,9.6,6.3,10.2), (6.3,9.6,6.9,15), (3.9,11.4,5.1,12.6), (2.7,11.7,3.9,12.3), (5.1,14.1,6.3,15.3), (4.5,14.4,5.1,25.5), (6,16.5,6.6,25.5), (6.6,16.5,8.4,17.1)])
R(or2_1x, metal1, [(0,-1.2,9.6,1.2), (0,-1.2,9.6,1.2), (3,1.2,4.2,4.2), (7.8,1.2,9,3.9), (0.6,2.1,1.8,24.9), (5.4,2.1,6.6,11.4), (7.8,6.6,9,7.8), (3.9,11.4,9,12.6), (7.8,12.6,9,17.4), (5.1,14.1,6.6,15.3), (6.9,16.5,8.1,24.9), (3,21.9,4.2,25.8), (0,25.8,9.6,28.2), (0,25.8,9.6,28.2)])
R(or2_1x, via1, [(8.1,6.9,8.7,7.5), (0.9,11.7,1.5,12.3), (5.7,14.4,6.3,15)])
R(or2_1x, metal2, [(7.8,6.6,9,7.8), (0.6,11.4,1.8,12.6), (5.4,14.1,6.6,15.3)])

or2_1x_8 = lib.new_cell('or2_1x_8')
R(or2_1x_8, metal1, [(1.2,0,10.8,2.4), (1.2,27,10.8,29.4), (1.2,33,10.8,35.4), (1.2,60,10.8,62.4), (1.2,66,10.8,68.4), (1.2,93,10.8,95.4), (1.2,99,10.8,101.4), (1.2,126,10.8,128.4), (1.2,132,10.8,134.4), (1.2,159,10.8,161.4), (1.2,165,10.8,167.4), (1.2,192,10.8,194.4), (1.2,198,10.8,200.4), (1.2,225,10.8,227.4), (1.2,231,10.8,233.4), (1.2,258,10.8,260.4)])
A(or2_1x_8, metal2, 9, 7.8, 1.2, 1.2, 1, 8, 0, 33)
A(or2_1x_8, metal2, 1.8, 12.6, 1.2, 1.2, 1, 8, 0, 33)
A(or2_1x_8, metal2, 6.6, 15.3, 1.2, 1.2, 1, 8, 0, 33)
r = gdstk.Reference(or2_1x, (1.2,1.2)); r.repetition = gdstk.Repetition(1, 8, v1=(12,0), v2=(0,33)); or2_1x_8.add(r)

alu = lib.new_cell('alu')
A(alu, contact, -2.1, -0.3, 0.6, 0.6, 1, 8, 0, 33)
R(alu, contact, [(7.5,-0.3,8.1,0.3), (7.5,26.7,8.1,27.3), (7.5,32.7,8.1,33.3), (7.5,59.7,8.1,60.3), (7.5,65.7,8.1,66.3), (7.5,92.7,8.1,93.3), (7.5,98.7,8.1,99.3), (7.5,125.7,8.1,126.3), (7.5,131.7,8.1,132.3), (7.5,158.7,8.1,159.3), (7.5,164.7,8.1,165.3), (7.5,191.7,8.1,192.3), (7.5,197.7,8.1,198.3), (7.5,224.7,8.1,225.3)])
A(alu, active, -2.4, -0.6, 1.2, 1.2, 1, 8, 0, 33)
R(alu, active, [(7.2,-0.6,8.4,0.6), (7.2,26.4,8.4,27.6), (7.2,32.4,8.4,33.6), (7.2,59.4,8.4,60.6), (7.2,65.4,8.4,66.6), (7.2,92.4,8.4,93.6), (7.2,98.4,8.4,99.6), (7.2,125.4,8.4,126.6), (7.2,131.4,8.4,132.6), (7.2,158.4,8.4,159.6), (7.2,164.4,8.4,165.6), (7.2,191.4,8.4,192.6), (7.2,197.4,8.4,198.6), (7.2,224.4,8.4,225.6)])
A(alu, pselect, -3, -1.2, 3, 2.4, 1, 8, 0, 33)
A(alu, pselect, 6.3, -1.2, 3, 2.4, 1, 7, 0, 33)
A(alu, nselect, 6.3, 25.8, 2.7, 2.4, 1, 7, 0, 33)
A(alu, metal1, -3, -1.2, 120, 2.4, 1, 8, 0, 33)
A(alu, metal1, -0.6, 25.8, 117.6, 2.4, 1, 8, 0, 33)
R(alu, metal1, [(52.8,14.7,58.8,15.9), (57.6,14.7,58.8,15.9), (13.8,262.8,117,265.2), (13.8,289.8,117,292.2)])
A(alu, via1, 108.3, 32.7, 0.6, 0.6, 1, 7, 0, 33)
R(alu, via1, [(53.1,15,53.7,15.6), (57.9,15,58.5,15.6)])
A(alu, metal2, 115.2, 2.4, 1.2, 9.9, 1, 8, 0, 33)
A(alu, metal2, 79.2, 3.3, 1.2, 21.3, 1, 8, 0, 33)
A(alu, metal2, 45.6, 6.6, 1.2, 15, 1, 8, 0, 33)
A(alu, metal2, 38.4, 8.4, 1.2, 4.2, 1, 8, 0, 33)
A(alu, metal2, 93.6, 8.4, 1.2, 3, 1, 8, 0, 33)
A(alu, metal2, 33.6, 9, 1.2, 15.6, 1, 8, 0, 33)
A(alu, metal2, 48, 9.6, 1.2, 15, 1, 8, 0, 33)
A(alu, metal2, 28.8, 10.2, 1.2, 5.4, 1, 8, 0, 33)
A(alu, metal2, 91.2, 10.2, 1.2, 5.4, 1, 8, 0, 33)
A(alu, metal2, 26.4, 11.4, 1.2, 1.2, 1, 8, 0, 33)
A(alu, metal2, 50.4, 11.4, 1.2, 2.1, 1, 8, 0, 33)
A(alu, metal2, 43.2, 14.1, 1.2, 10.5, 1, 8, 0, 33)
A(alu, metal2, 103.2, 14.7, 1.2, 9.9, 1, 8, 0, 33)
A(alu, metal2, 36, 18.3, 1.2, 3.3, 1, 8, 0, 33)
A(alu, metal2, 9.6, 20.4, 1.2, 1.2, 1, 8, 0, 33)
A(alu, metal2, 24, 20.4, 1.2, 1.2, 1, 8, 0, 33)
A(alu, metal2, 108, 32.4, 1.2, 11.7, 1, 7, 0, 33)
R(alu, metal2, [(0,2.4,1.2,9.6), (4.8,8.4,6,36.6), (108,9.9,109.2,11.1), (117.6,9.9,118.8,255.6), (52.8,14.7,54,15.9), (57.6,14.7,58.8,276.6), (0,68.4,1.2,75.6), (4.8,74.4,6,102.6), (2.4,110.4,3.6,111.6), (4.8,134.4,6,141.6), (0,140.4,1.2,168.6), (4.8,200.4,6,207.6), (0,206.4,1.2,234.6), (14.4,275.4,15.6,294), (86.4,275.4,87.6,294), (96,275.4,97.2,294), (14.4,292.8,15.6,294), (86.4,292.8,87.6,294), (96,292.8,97.2,294)])
A(alu, via2, 115.5, 2.7, 0.6, 0.6, 1, 8, 0, 33)
A(alu, via2, 38.7, 8.7, 0.6, 0.6, 1, 8, 0, 33)
A(alu, via2, 93.9, 8.7, 0.6, 0.6, 1, 8, 0, 33)
A(alu, via2, 26.7, 11.7, 0.6, 0.6, 1, 8, 0, 33)
A(alu, via2, 50.7, 11.7, 0.6, 0.6, 1, 8, 0, 33)
A(alu, via2, 29.1, 14.7, 0.6, 0.6, 1, 8, 0, 33)
A(alu, via2, 91.5, 14.7, 0.6, 0.6, 1, 8, 0, 33)
A(alu, via2, 9.9, 20.7, 0.6, 0.6, 1, 8, 0, 33)
A(alu, via2, 24.3, 20.7, 0.6, 0.6, 1, 8, 0, 33)
A(alu, via2, 36.3, 20.7, 0.6, 0.6, 1, 8, 0, 33)
A(alu, via2, 45.9, 20.7, 0.6, 0.6, 1, 8, 0, 33)
A(alu, via2, 33.9, 23.7, 0.6, 0.6, 1, 8, 0, 33)
A(alu, via2, 43.5, 23.7, 0.6, 0.6, 1, 8, 0, 33)
A(alu, via2, 48.3, 23.7, 0.6, 0.6, 1, 8, 0, 33)
A(alu, via2, 79.5, 23.7, 0.6, 0.6, 1, 8, 0, 33)
A(alu, via2, 103.5, 23.7, 0.6, 0.6, 1, 8, 0, 33)
R(alu, via2, [(0.3,2.7,0.9,3.3), (108.3,10.2,108.9,10.8), (117.9,10.2,118.5,10.8), (5.1,35.7,5.7,36.3), (0.3,68.7,0.9,69.3), (5.1,101.7,5.7,102.3), (5.1,134.7,5.7,135.3), (0.3,167.7,0.9,168.3), (5.1,200.7,5.7,201.3), (0.3,233.7,0.9,234.3), (117.9,254.7,118.5,255.3), (14.7,275.7,15.3,276.3), (57.9,275.7,58.5,276.3)])
A(alu, metal3, -3, 2.1, 119.7, 1.8, 1, 8, 0, 33)
A(alu, metal3, 38.1, 8.1, 57, 1.8, 1, 8, 0, 33)
A(alu, metal3, 26.1, 11.1, 25.8, 1.8, 1, 8, 0, 33)
A(alu, metal3, 28.5, 14.1, 64.2, 1.8, 1, 8, 0, 33)
A(alu, metal3, -1.8, 20.1, 48.9, 1.8, 1, 8, 0, 33)
A(alu, metal3, -1.8, 23.1, 51.3, 1.8, 1, 8, 0, 33)
A(alu, metal3, 78.9, 23.1, 25.8, 1.8, 1, 8, 0, 33)
R(alu, metal3, [(-3,2.1,-1.2,3.9), (107.7,9.6,119.1,11.4), (-3,20.1,-1.2,21.9), (-3,23.1,-1.2,24.9), (-3,35.1,-1.2,36.9), (-3,53.1,-1.2,54.9), (-3,56.1,-1.2,57.9), (-3,68.1,-1.2,69.9), (-3,86.1,-1.2,87.9), (-3,89.1,-1.2,90.9), (-3,101.1,-1.2,102.9), (-3,119.1,-1.2,120.9), (-3,122.1,-1.2,123.9), (-3,134.1,-1.2,135.9), (-3,152.1,-1.2,153.9), (-3,155.1,-1.2,156.9), (-3,167.1,-1.2,168.9), (-3,185.1,-1.2,186.9), (-3,188.1,-1.2,189.9), (-3,200.1,-1.2,201.9), (-3,218.1,-1.2,219.9), (-3,221.1,-1.2,222.9), (-3,233.1,-1.2,234.9), (-3,251.1,-1.2,252.9), (-3,254.1,-1.2,255.9), (103.2,254.1,119.1,255.9), (14.1,275.1,59.1,276.9)])
alu.add(gdstk.Reference(mux4_1x_8, (85.8,0)))
alu.add(gdstk.Reference(adder_8, (47.4,0)))
alu.add(gdstk.Reference(condinv_8, (9,0)))
alu.add(gdstk.Reference(yzdetect_8, (0,0)))
alu.add(gdstk.Reference(and2_1x_8, (27,-1.2)))
alu.add(gdstk.Reference(or2_1x_8, (36.6,-1.2)))

lib.write_gds('alu.gds')
